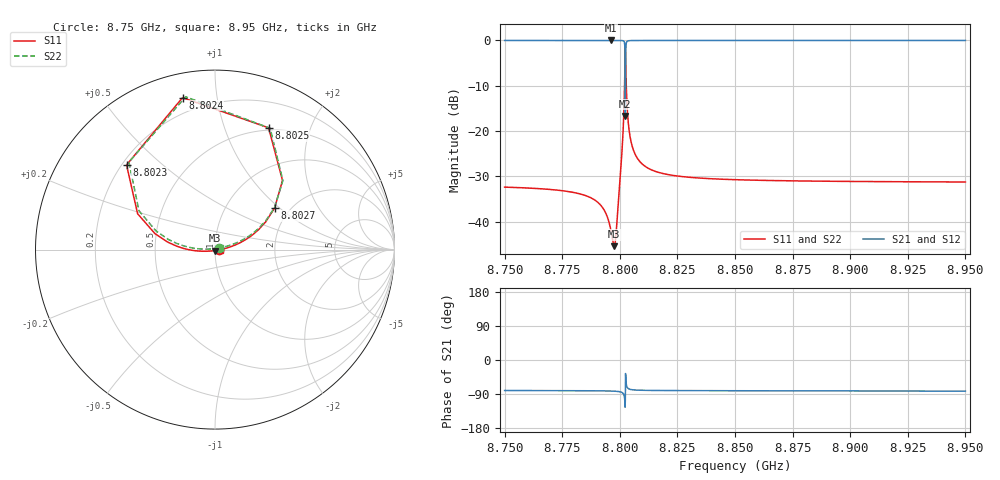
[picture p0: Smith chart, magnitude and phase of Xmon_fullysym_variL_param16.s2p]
! Sonnet Data File
! From: emgraph Version : 16.52
! From Project: 171117_Xmon_fullysym
! Data is De-embedded
! Data File Written: 11/26/2017 17:14:24
!< HDATE 11/22/2017 16:48:52
!< MDATE 11/23/2017 10:16:42
!< PARAMS
!< Lj = 11.0
!< Gap = 1.0
!< Pwid = 2000.0
!< Airgap = 6.0
!< Width = 10.0
!< Lj1 = 9.4
!< END PARAMS
# GHZ S MA R 50.90000
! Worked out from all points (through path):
!   2001 points, 8.75 GHz to 8.95 GHz, reference 50.9 ohm
!   highest |S21| = 0.00 dB at 8.7961 GHz (marker M1); lowest = -16.6 dB at 8.8024 GHz (marker M2)
!   lowest |S11| = -45.4 dB at 8.7976 GHz (marker M3), VSWR 1.01, Z = 51 - j0.543 ohm
!   |S11| at or under -10 dB: start of sweep to 8.8021 GHz; 8.8028 GHz to end of sweep
!   |S22| runs from -45.1 to -1.2 dB; largest |S21 - S12| = 3.3e-11
!   S11 on the Smith chart (normalised r, x): 8.75 GHz: 1.05, -0.00; 8.8023 GHz: 0.22, +0.38; 8.8024 GHz: 0.12, +0.80; 8.8025 GHz: 0.47, +1.43; 8.8027 GHz: 1.67, +0.93; 8.95 GHz: 1.06, -0.00
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8.75  0.02407 -2.9  0.9997 -80.5  0.9997 -80.5  0.02407 22.0
!< P1 F=8.75 Eeff=(6.44841643 -2.9796e-5) Z0=(50.9085185 1.17018e-4) R=0.0 C=0.0
!< P2 F=8.75 Eeff=(6.44841643 -2.9796e-5) Z0=(50.9085185 1.17018e-4) R=0.0 C=0.0
8.7834  0.02004 -6.2  0.9998 -81.0  0.9998 -81.0  0.02005 24.2
8.7919  0.015 -12.1  0.9999 -81.4  0.9999 -81.4  0.01502 29.4
8.7961  0.00812 -33.1  0.9999 -81.9  0.9999 -81.9  0.008203 49.9
8.7976  0.005368 -83.0  0.9999 -82.3  0.9999 -82.3  0.005577 98.4
8.7984  0.00752 -127.0  0.9998 -82.6  0.9998 -82.6  0.007735 140.2
8.7994  0.01652 -154.2  0.9996 -83.2  0.9996 -83.2  0.01669 166.1
8.8007  0.04742 -168.8  0.9981 -85.0  0.9981 -85.0  0.04761 176.8
8.8014  0.09735 -175.5  0.9929 -87.9  0.9929 -87.9  0.0976 177.0
8.8023  0.6824 136.2  0.6212 -124.6  0.6212 -124.6  0.6835 134.5
8.8024  0.8656 102.1  0.1472 -105.2  0.1472 -105.2  0.867 100.9
8.8025  0.7414 66.2  0.5376 -35.7  0.5376 -35.7  0.7426 65.5
8.8027  0.4052 34.9  0.8896 -58.5  0.8896 -58.5  0.4058 35.2
8.8035  0.139 14.8  0.9883 -74.3  0.9883 -74.3  0.1392 18.1
8.8043  0.09175 10.5  0.9951 -77.1  0.9951 -77.1  0.09183 16.2
8.8063  0.05819 6.3  0.9981 -79.0  0.9981 -79.0  0.05822 15.9
8.8101  0.04248 3.2  0.9991 -80.0  0.9991 -80.0  0.04249 16.9
8.8167  0.03507 1.1  0.9994 -80.5  0.9994 -80.5  0.03507 18.0
8.85  0.02908 -1.5  0.9996 -81.1  0.9996 -81.1  0.02908 19.3
8.8834  0.02805 -2.3  0.9996 -81.5  0.9996 -81.5  0.02805 19.4
8.9167  0.02764 -2.9  0.9996 -81.8  0.9996 -81.8  0.02764 19.3
8.95  0.02742 -3.4  0.9996 -82.2  0.9996 -82.2  0.02742 19.1
